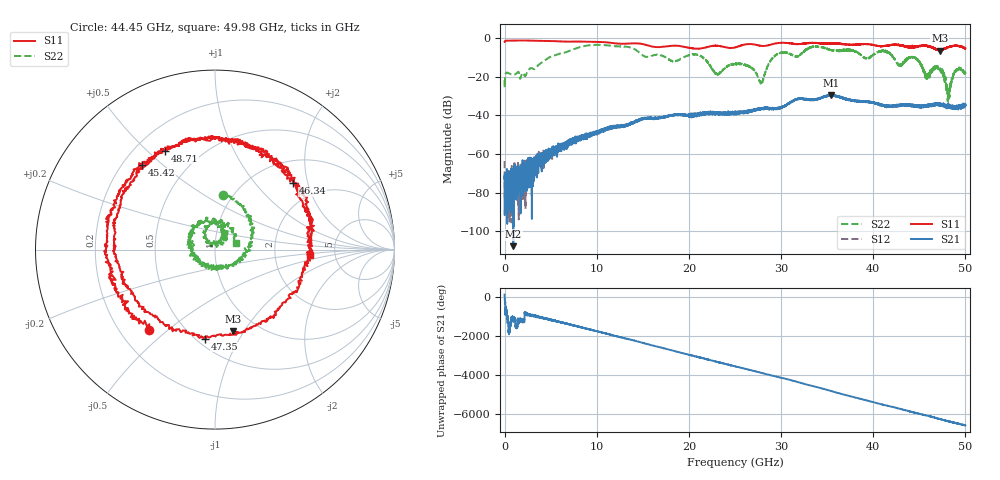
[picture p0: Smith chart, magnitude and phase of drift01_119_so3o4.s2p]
!Created with skrf (http://scikit-rf.org).
# Hz S RI R 50.0
!freq ReS11 ImS11 ReS21 ImS21 ReS12 ImS12 ReS22 ImS22
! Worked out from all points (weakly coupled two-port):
!   10001 points, 300 kHz to 50 GHz, reference 50 ohm
!   highest |S21| = -29.57 dB at 35.41 GHz (marker M1); lowest = -107.7 dB at 940.3 MHz (marker M2)
!   lowest |S11| = -6.6 dB at 47.21 GHz (marker M3), VSWR 2.75, Z = 38.6 - j44.8 ohm
!   |S11| at or under -10 dB: nowhere
!   |S22| runs from -35.7 to -3.6 dB; largest |S21 - S12| = 0.0044
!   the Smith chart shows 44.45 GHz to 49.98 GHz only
!   S11 on the Smith chart (normalised r, x): 44.45 GHz: 0.32, -0.43; 45.42 GHz: 0.28, +0.43; 46.34 GHz: 1.48, +1.62; 47.35 GHz: 0.55, -0.73; 48.71 GHz: 0.32, +0.57; 49.98 GHz: 3.21, -0.28
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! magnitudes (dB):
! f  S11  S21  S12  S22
! 300 kHz  -2.1  -70.6  -63.7  -21.8
! 265.3 MHz  -1.4  -67.8  -69.9  -18.0
! 940.3 MHz  -1.5  -107.7  -69.4  -19.0
! 8.335 GHz  -1.9  -51.0  -52.0  -4.5
! 16.67 GHz  -4.8  -41.6  -41.6  -8.7
! 20.97 GHz  -5.6  -40.0  -40.1  -8.8
! 23.09 GHz  -4.1  -39.2  -38.8  -18.8
! 25 GHz  -5.0  -39.5  -38.5  -13.6
! 27.84 GHz  -4.1  -36.7  -36.6  -23.2
! 29.46 GHz  -2.8  -36.6  -36.6  -8.8
! 33.34 GHz  -2.6  -32.2  -32.0  -4.7
! 35.41 GHz  -2.8  -29.6  -29.7  -6.2
! 41.67 GHz  -3.8  -35.1  -35.2  -7.8
! 44.45 GHz  -4.7  -35.2  -35.1  -10.2
! 45.42 GHz  -4.1  -35.3  -35.2  -16.9
! 46.34 GHz  -4.9  -34.7  -34.7  -17.2
! 47.21 GHz  -6.6  -34.2  -34.7  -16.4
! 47.35 GHz  -6.0  -35.2  -34.4  -16.2
! 48.13 GHz  -4.8  -34.7  -35.6  -30.8
! 48.71 GHz  -4.2  -36.2  -35.7  -18.9
! 49.98 GHz  -5.5  -34.7  -34.3  -18.1
! 50 GHz  -5.4  -34.9  -34.8  -18.3
